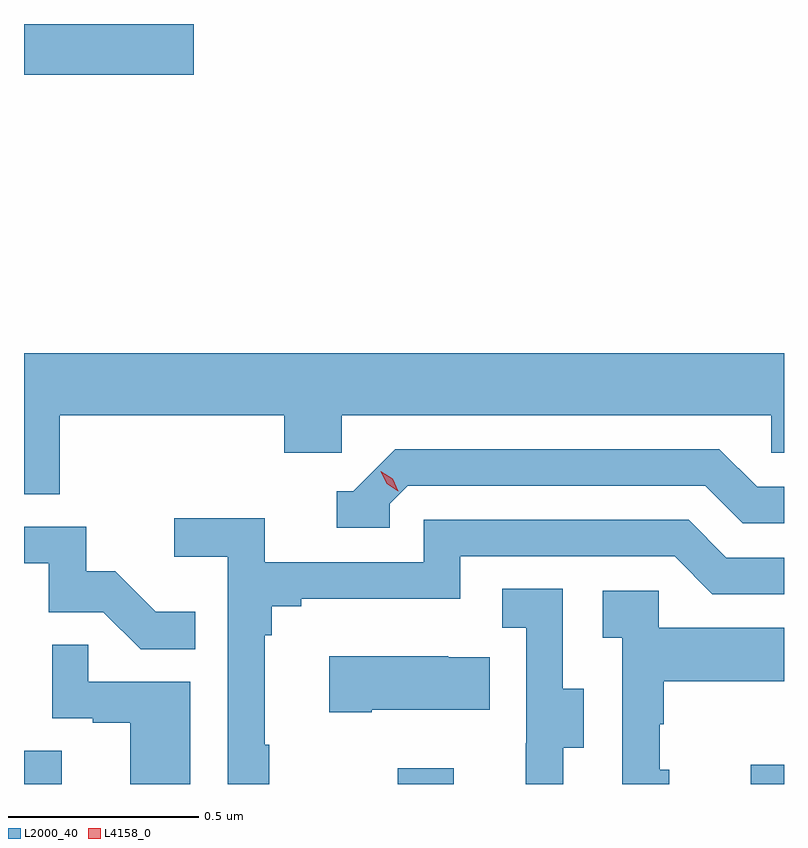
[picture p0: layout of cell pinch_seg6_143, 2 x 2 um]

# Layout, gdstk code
import gdstk
lib = gdstk.Library(unit=1e-6, precision=1e-09)
def R(c, l, rs):  # rectangles x0, y0, x1, y1
    for r in rs: c.add(gdstk.rectangle(r[:2], r[2:], *l))
def P(c, l, *ps):  # polygons
    for p in ps: c.add(gdstk.Polygon(p, *l))
L2000_40 = (2000, 40)
L4158_0 = (4158, 0)

pinch_seg6_143 = lib.new_cell('pinch_seg6_143')
R(pinch_seg6_143, L2000_40, [(997.342,921.058,997.441,921.146), (998.326,921.058,998.473,921.1), (999.254,921.058,999.342,921.109), (997.342,922.925,997.789,923.058)])
P(pinch_seg6_143, L2000_40, [(997.436,922.028),(998.027,922.028),(998.027,921.93),(998.178,921.93),(998.178,922.028),(999.309,922.028),(999.309,921.93),(999.342,921.93),(999.342,922.192),(997.342,922.192),(997.342,921.82),(997.436,921.82)],
  [(998.304,921.795),(998.352,921.843),(999.135,921.843),(999.234,921.744),(999.342,921.744),(999.342,921.84),(999.271,921.84),(999.172,921.939),(998.319,921.939),(998.208,921.828),(998.165,921.828),(998.165,921.732),(998.304,921.732)],
  [(997.987,921.161),(997.975,921.161),(997.975,921.449),(997.994,921.449),(997.994,921.526),(998.071,921.526),(998.071,921.545),(998.49,921.545),(998.49,921.657),(999.054,921.657),(999.153,921.558),(999.342,921.558),(999.342,921.654),(999.19,921.654),(999.091,921.753),(998.394,921.753),(998.394,921.642),(997.976,921.642),(997.976,921.758),(997.737,921.758),(997.737,921.656),(997.878,921.656),(997.878,921.058),(997.987,921.058)],
  [(997.793,921.511),(997.689,921.511),(997.582,921.618),(997.506,921.618),(997.506,921.735),(997.342,921.735),(997.342,921.639),(997.407,921.639),(997.407,921.51),(997.551,921.51),(997.649,921.412),(997.793,921.412)],
  [(998.761,921.154),(998.815,921.154),(998.815,921.309),(998.76,921.309),(998.76,921.572),(998.601,921.572),(998.601,921.469),(998.664,921.469),(998.664,921.165),(998.663,921.165),(998.663,921.058),(998.761,921.058)],
  [(999.04,921.096),(999.015,921.096),(999.015,921.215),(999.025,921.215),(999.025,921.329),(999.342,921.329),(999.342,921.469),(999.012,921.469),(999.012,921.567),(998.865,921.567),(998.865,921.443),(998.916,921.443),(998.916,921.058),(999.04,921.058)],
  [(997.78,921.327),(997.511,921.327),(997.511,921.425),(997.416,921.425),(997.416,921.231),(997.523,921.231),(997.523,921.219),(997.622,921.219),(997.622,921.058),(997.78,921.058)],
  [(998.257,921.254),(998.567,921.254),(998.567,921.391),(998.459,921.391),(998.459,921.394),(998.145,921.394),(998.145,921.247),(998.257,921.247)])
P(pinch_seg6_143, L4158_0, [(998.327,921.828),(998.296,921.848),(998.281,921.881),(998.281,921.881),(998.281,921.881),(998.312,921.861),(998.327,921.828),(998.327,921.828)])

lib.write_gds('pinch_seg6_143.gds')
